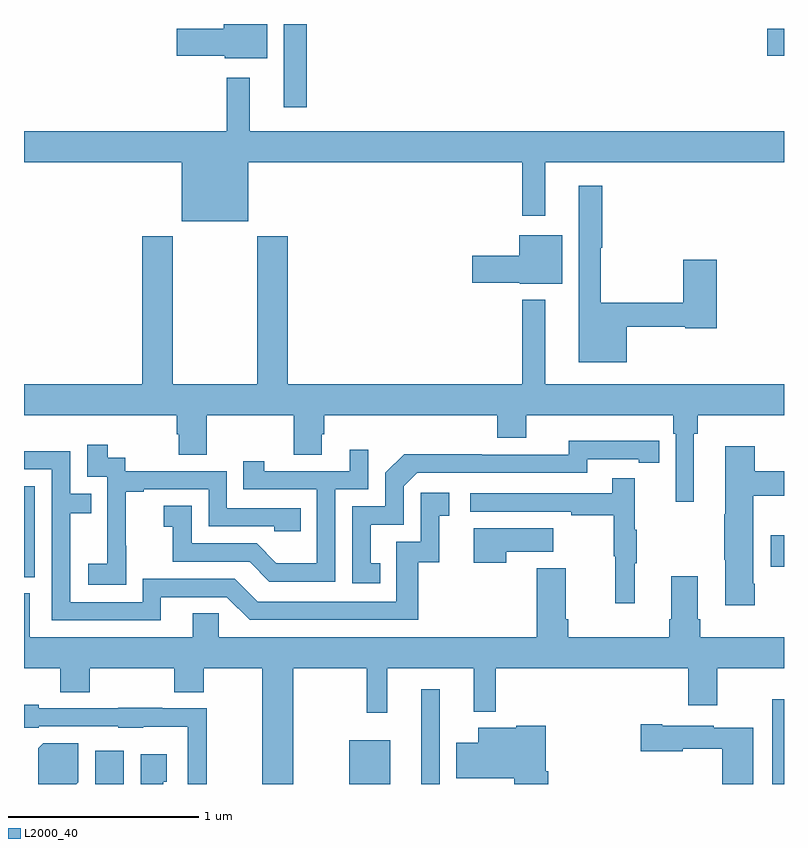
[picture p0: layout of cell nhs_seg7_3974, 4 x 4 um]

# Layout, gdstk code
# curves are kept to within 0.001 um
import gdstk
lib = gdstk.Library(unit=1e-6, precision=1e-09)
def R(c, l, rs):  # rectangles x0, y0, x1, y1
    for r in rs: c.add(gdstk.rectangle(r[:2], r[2:], *l))
def P(c, l, *ps):  # polygons
    for p in ps: c.add(gdstk.Polygon(p, *l))
L2000_40 = (2000, 40)

nhs_seg7_3974 = lib.new_cell('nhs_seg7_3974')
R(nhs_seg7_3974, L2000_40, [(363.374,1008,363.526,1008.175), (364.712,1008,364.927,1008.229), (365.09,1008,365.187,1008.499), (366.938,1008,367,1008.445), (363,1009.089,363.057,1009.566), (366.93,1009.144,367,1009.309), (364.367,1011.561,364.489,1012), (366.912,1011.832,367,1011.974)])
P(nhs_seg7_3974, L2000_40, [(364.279,1012),(364.052,1012),(364.052,1011.974),(363.804,1011.974),(363.804,1011.832),(364.056,1011.832),(364.056,1011.821),(364.279,1011.821)],
  [(364.18,1011.272),(365.622,1011.272),(365.622,1010.991),(365.743,1010.991),(365.743,1011.272),(367,1011.272),(367,1011.436),(364.189,1011.436),(364.189,1011.718),(364.068,1011.718),(364.068,1011.436),(363,1011.436),(363,1011.272),(363.83,1011.272),(363.83,1010.963),(364.18,1010.963)],
  [(366.172,1010.406),(366.48,1010.406),(366.48,1010.398),(366.647,1010.398),(366.647,1010.758),(366.469,1010.758),(366.469,1010.534),(366.035,1010.534),(366.035,1010.823),(366.043,1010.823),(366.043,1011.148),(365.921,1011.148),(365.921,1010.219),(366.172,1010.219)],
  [(365.833,1010.887),(365.606,1010.887),(365.606,1010.781),(365.358,1010.781),(365.358,1010.639),(365.61,1010.639),(365.61,1010.633),(365.833,1010.633)],
  [(366.526,1009.844),(366.545,1009.844),(366.545,1009.94),(367,1009.94),(367,1010.104),(365.743,1010.104),(365.743,1010.548),(365.622,1010.548),(365.622,1010.104),(364.388,1010.104),(364.388,1010.884),(364.228,1010.884),(364.228,1010.104),(363.783,1010.104),(363.783,1010.884),(363.623,1010.884),(363.623,1010.104),(363,1010.104),(363,1009.94),(363.803,1009.94),(363.803,1009.842),(363.815,1009.842),(363.815,1009.732),(363.963,1009.732),(363.963,1009.94),(364.42,1009.94),(364.42,1009.732),(364.567,1009.732),(364.567,1009.842),(364.58,1009.842),(364.58,1009.94),(365.492,1009.94),(365.492,1009.823),(365.644,1009.823),(365.644,1009.94),(366.416,1009.94),(366.416,1009.844),(366.429,1009.844),(366.429,1009.485),(366.526,1009.485)],
  [(364.874,1009.161),(364.825,1009.161),(364.825,1009.365),(364.998,1009.365),(364.998,1009.566),(365.07,1009.638),(365.964,1009.638),(365.964,1009.71),(366.236,1009.71),(366.236,1009.69),(366.344,1009.69),(366.344,1009.806),(365.868,1009.807),(365.868,1009.734),(365.408,1009.734),(365.408,1009.736),(365,1009.736),(364.902,1009.638),(364.902,1009.461),(364.728,1009.461),(364.728,1009.056),(364.874,1009.056)],
  [(363.537,1009.255),(363.536,1009.255),(363.536,1009.539),(363.631,1009.539),(363.631,1009.551),(363.972,1009.551),(363.972,1009.356),(364.317,1009.356),(364.317,1009.329),(364.457,1009.329),(364.457,1009.452),(364.068,1009.452),(364.068,1009.647),(363.534,1009.647),(363.534,1009.716),(363.442,1009.716),(363.442,1009.786),(363.333,1009.786),(363.333,1009.617),(363.438,1009.617),(363.438,1009.388),(363.437,1009.388),(363.437,1009.159),(363.339,1009.159),(363.339,1009.049),(363.537,1009.049)],
  [(366.846,1009.054),(366.838,1009.054),(366.838,1009.517),(367,1009.517),(367,1009.647),(366.846,1009.647),(366.846,1009.777),(366.692,1009.777),(366.692,1009.421),(366.685,1009.421),(366.685,1009.18),(366.692,1009.18),(366.692,1008.942),(366.846,1008.942)],
  [(364.638,1009.551),(364.812,1009.551),(364.812,1009.759),(364.715,1009.759),(364.715,1009.647),(364.264,1009.647),(364.264,1009.699),(364.153,1009.699),(364.153,1009.551),(364.542,1009.551),(364.542,1009.162),(364.328,1009.162),(364.224,1009.266),(363.882,1009.266),(363.882,1009.465),(363.735,1009.465),(363.735,1009.355),(363.784,1009.355),(363.784,1009.17),(364.187,1009.17),(364.292,1009.065),(364.638,1009.065)],
  [(363.721,1008.984),(364.068,1008.984),(364.188,1008.864),(365.075,1008.864),(365.075,1009.167),(365.186,1009.167),(365.186,1009.413),(365.239,1009.413),(365.239,1009.534),(365.088,1009.534),(365.088,1009.275),(364.959,1009.275),(364.959,1008.96),(364.23,1008.96),(364.11,1009.08),(363.624,1009.08),(363.624,1008.957),(363.243,1008.957),(363.243,1009.426),(363.353,1009.426),(363.353,1009.527),(363.243,1009.527),(363.243,1009.752),(363,1009.752),(363,1009.656),(363.147,1009.656),(363.147,1008.861),(363.721,1008.861)],
  [(366.215,1009.163),(366.226,1009.163),(366.226,1009.337),(366.215,1009.337),(366.215,1009.609),(366.097,1009.609),(366.097,1009.53),(365.349,1009.53),(365.349,1009.434),(365.881,1009.434),(365.881,1009.414),(366.105,1009.414),(366.105,1009.2),(366.112,1009.2),(366.112,1008.951),(366.215,1008.951)],
  [(365.537,1009.223),(365.785,1009.223),(365.785,1009.345),(365.366,1009.345),(365.366,1009.164),(365.537,1009.164)],
  [(363.031,1009.004),(363,1009.004),(363,1008.608),(363.19,1008.608),(363.19,1008.484),(363.345,1008.484),(363.345,1008.608),(363.79,1008.608),(363.79,1008.484),(363.945,1008.484),(363.945,1008.608),(364.253,1008.608),(364.253,1008),(364.417,1008),(364.417,1008.608),(364.803,1008.608),(364.803,1008.375),(364.913,1008.375),(364.913,1008.608),(365.366,1008.608),(365.366,1008.38),(365.483,1008.38),(365.483,1008.608),(366.497,1008.608),(366.497,1008.414),(366.649,1008.414),(366.649,1008.608),(367,1008.608),(367,1008.772),(366.56,1008.772),(366.56,1008.868),(366.547,1008.868),(366.547,1009.093),(366.407,1009.093),(366.407,1008.868),(366.395,1008.868),(366.395,1008.772),(365.864,1008.772),(365.864,1008.868),(365.851,1008.868),(365.851,1009.135),(365.699,1009.135),(365.699,1008.772),(364.026,1008.772),(364.026,1008.899),(363.887,1008.899),(363.887,1008.772),(363.031,1008.772)],
  [(363.962,1008.399),(363.727,1008.399),(363.727,1008.401),(363.495,1008.401),(363.495,1008.399),(363.078,1008.399),(363.078,1008.418),(363,1008.418),(363,1008.296),(363.078,1008.296),(363.078,1008.303),(363.495,1008.303),(363.495,1008.296),(363.627,1008.296),(363.627,1008.302),(363.861,1008.302),(363.861,1008),(363.962,1008)],
  [(366.838,1008.295),(366.63,1008.295),(366.63,1008.307),(366.358,1008.307),(366.358,1008.315),(366.246,1008.315),(366.246,1008.173),(366.468,1008.173),(366.468,1008.185),(366.676,1008.185),(366.676,1008),(366.838,1008)],
  [(365.759,1008.067),(365.746,1008.067),(365.746,1008.307),(365.592,1008.307),(365.592,1008.295),(365.39,1008.295),(365.39,1008.217),(365.276,1008.217),(365.276,1008.029),(365.581,1008.029),(365.581,1008),(365.759,1008)],
  [(363.286,1008.01),(363.286,1008.214),(363.1,1008.214),(363.074,1008.188),(363.074,1008),(363.276,1008)],
  [(363.733,1008.012),(363.751,1008.012),(363.751,1008.157),(363.614,1008.157),(363.614,1008),(363.733,1008)])

lib.write_gds('nhs_seg7_3974.gds')
